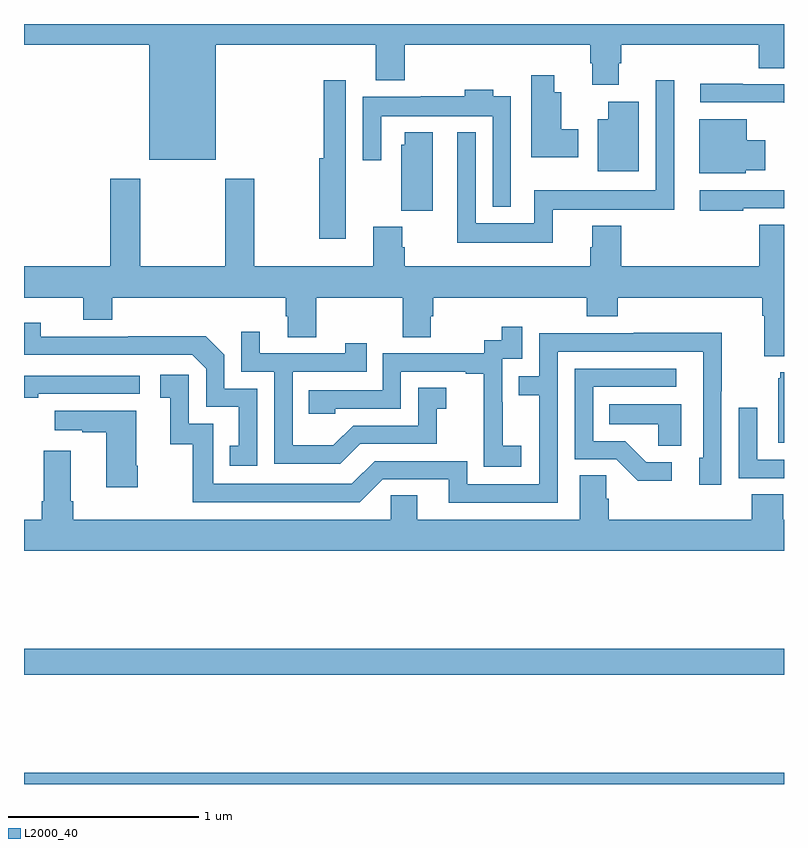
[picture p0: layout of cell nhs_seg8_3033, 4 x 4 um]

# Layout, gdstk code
import gdstk
lib = gdstk.Library(unit=1e-6, precision=1e-09)
def R(c, l, rs):  # rectangles x0, y0, x1, y1
    for r in rs: c.add(gdstk.rectangle(r[:2], r[2:], *l))
def P(c, l, *ps):  # polygons
    for p in ps: c.add(gdstk.Polygon(p, *l))
L2000_40 = (2000, 40)

nhs_seg8_3033 = lib.new_cell('nhs_seg8_3033')
R(nhs_seg8_3033, L2000_40, [(299,1153.9,303,1153.96), (299,1154.476,303,1154.612)])
P(nhs_seg8_3033, L2000_40, [(300.01,1157.792),(300.851,1157.792),(300.851,1157.603),(301.004,1157.603),(301.004,1157.792),(301.979,1157.792),(301.979,1157.694),(301.991,1157.694),(301.991,1157.58),(302.131,1157.58),(302.131,1157.694),(302.144,1157.694),(302.144,1157.792),(302.867,1157.792),(302.867,1157.668),(303,1157.668),(303,1157.9),(299,1157.9),(299,1157.792),(299.66,1157.792),(299.66,1157.186),(300.01,1157.186)],
  [(301.918,1157.346),(301.828,1157.346),(301.828,1157.542),(301.792,1157.542),(301.792,1157.629),(301.67,1157.629),(301.67,1157.198),(301.918,1157.198)],
  [(300.694,1157.09),(300.693,1157.09),(300.693,1157.605),(300.577,1157.605),(300.577,1157.194),(300.553,1157.194),(300.553,1156.77),(300.694,1156.77)],
  [(301.784,1156.922),(302.422,1156.922),(302.422,1157.605),(302.325,1157.605),(302.325,1157.026),(301.686,1157.026),(301.686,1156.852),(301.377,1156.852),(301.377,1157.329),(301.28,1157.329),(301.28,1156.748),(301.784,1156.748)],
  [(303,1157.583),(302.783,1157.583),(302.783,1157.585),(302.559,1157.585),(302.559,1157.487),(302.999,1157.487),(302.999,1157.486),(303,1157.486)],
  [(301.563,1157.521),(301.471,1157.521),(301.471,1157.554),(301.319,1157.554),(301.319,1157.521),(301.087,1157.521),(301.087,1157.518),(300.783,1157.518),(300.783,1157.184),(300.879,1157.184),(300.879,1157.414),(301.467,1157.414),(301.467,1156.937),(301.563,1156.937)],
  [(302.236,1157.491),(302.075,1157.491),(302.075,1157.398),(302.021,1157.398),(302.021,1157.126),(302.236,1157.126)],
  [(302.799,1157.129),(302.902,1157.129),(302.902,1157.287),(302.803,1157.287),(302.803,1157.398),(302.555,1157.398),(302.555,1157.114),(302.799,1157.114)],
  [(301.15,1157.329),(301.004,1157.329),(301.004,1157.265),(300.986,1157.265),(300.986,1156.918),(301.15,1156.918)],
  [(303,1156.844),(302.87,1156.844),(302.87,1156.624),(302.144,1156.624),(302.144,1156.837),(301.991,1156.837),(301.991,1156.725),(301.979,1156.725),(301.979,1156.624),(301.004,1156.624),(301.004,1156.724),(300.991,1156.724),(300.991,1156.833),(300.839,1156.833),(300.839,1156.624),(300.213,1156.624),(300.213,1157.086),(300.058,1157.086),(300.058,1156.624),(299.613,1156.624),(299.613,1157.086),(299.453,1157.086),(299.453,1156.624),(299,1156.624),(299,1156.46),(299.312,1156.46),(299.312,1156.343),(299.465,1156.343),(299.465,1156.46),(300.377,1156.46),(300.377,1156.362),(300.389,1156.362),(300.389,1156.252),(300.537,1156.252),(300.537,1156.46),(300.994,1156.46),(300.994,1156.252),(301.141,1156.252),(301.141,1156.362),(301.154,1156.362),(301.154,1156.46),(301.961,1156.46),(301.961,1156.361),(302.126,1156.361),(302.126,1156.46),(302.885,1156.46),(302.885,1156.364),(302.897,1156.364),(302.897,1156.151),(303,1156.151)],
  [(302.786,1156.929),(303,1156.929),(303,1157.025),(302.556,1157.025),(302.556,1156.917),(302.786,1156.917)],
  [(300.228,1155.981),(300.054,1155.981),(300.054,1156.158),(299.956,1156.256),(299.548,1156.256),(299.548,1156.254),(299.088,1156.254),(299.088,1156.327),(299,1156.327),(299,1156.158),(299.886,1156.158),(299.958,1156.086),(299.958,1155.885),(300.131,1155.885),(300.131,1155.681),(300.082,1155.681),(300.082,1155.576),(300.228,1155.576)],
  [(301.618,1155.679),(301.52,1155.679),(301.52,1155.908),(301.518,1155.908),(301.518,1156.137),(301.623,1156.137),(301.623,1156.306),(301.515,1156.306),(301.515,1156.236),(301.422,1156.236),(301.422,1156.167),(300.888,1156.167),(300.888,1155.972),(300.499,1155.972),(300.499,1155.849),(300.639,1155.849),(300.639,1155.876),(300.984,1155.876),(300.984,1156.071),(301.325,1156.071),(301.325,1156.059),(301.421,1156.059),(301.421,1155.775),(301.42,1155.775),(301.42,1155.569),(301.618,1155.569)],
  [(300.769,1155.69),(301.173,1155.69),(301.173,1155.875),(301.222,1155.875),(301.222,1155.985),(301.074,1155.985),(301.074,1155.786),(300.732,1155.786),(300.628,1155.682),(300.414,1155.682),(300.414,1156.071),(300.803,1156.071),(300.803,1156.219),(300.692,1156.219),(300.692,1156.167),(300.241,1156.167),(300.241,1156.279),(300.144,1156.279),(300.144,1156.071),(300.318,1156.071),(300.318,1155.585),(300.664,1155.585)],
  [(301.809,1156.176),(302.574,1156.176),(302.574,1155.618),(302.555,1155.618),(302.555,1155.474),(302.67,1155.474),(302.67,1155.967),(302.673,1155.967),(302.673,1156.274),(302.209,1156.274),(302.209,1156.272),(301.713,1156.272),(301.713,1156.047),(301.603,1156.047),(301.603,1155.946),(301.713,1155.946),(301.713,1155.477),(301.332,1155.477),(301.332,1155.6),(300.846,1155.6),(300.726,1155.48),(299.997,1155.48),(299.997,1155.795),(299.868,1155.795),(299.868,1156.054),(299.718,1156.054),(299.718,1155.933),(299.771,1155.933),(299.771,1155.687),(299.889,1155.687),(299.889,1155.384),(300.768,1155.384),(300.888,1155.504),(301.235,1155.504),(301.235,1155.381),(301.809,1155.381)],
  [(302.41,1155.594),(302.275,1155.594),(302.164,1155.705),(301.995,1155.705),(301.995,1155.99),(302.434,1155.99),(302.434,1156.086),(301.899,1156.086),(301.899,1155.609),(302.118,1155.609),(302.231,1155.497),(302.41,1155.497)],
  [(303,1156.066),(302.981,1156.066),(302.981,1156.035),(302.969,1156.035),(302.969,1155.695),(303,1155.695)],
  [(299.075,1155.954),(299.608,1155.954),(299.608,1156.05),(299,1156.05),(299,1155.934),(299.075,1155.934)],
  [(302.458,1155.898),(302.08,1155.898),(302.08,1155.794),(302.337,1155.794),(302.337,1155.679),(302.458,1155.679)],
  [(303,1155.606),(302.859,1155.606),(302.859,1155.88),(302.763,1155.88),(302.763,1155.51),(303,1155.51)],
  [(299.598,1155.574),(299.59,1155.574),(299.59,1155.865),(299.163,1155.865),(299.163,1155.761),(299.306,1155.761),(299.306,1155.751),(299.432,1155.751),(299.432,1155.462),(299.598,1155.462)],
  [(303,1155.292),(302.996,1155.292),(302.996,1155.425),(302.831,1155.425),(302.831,1155.292),(302.078,1155.292),(302.078,1155.401),(302.064,1155.401),(302.064,1155.524),(301.925,1155.524),(301.925,1155.292),(301.069,1155.292),(301.069,1155.419),(300.93,1155.419),(300.93,1155.292),(299.258,1155.292),(299.258,1155.388),(299.245,1155.388),(299.245,1155.655),(299.105,1155.655),(299.105,1155.388),(299.093,1155.388),(299.093,1155.292),(299,1155.292),(299,1155.128),(303,1155.128)])

lib.write_gds('nhs_seg8_3033.gds')
